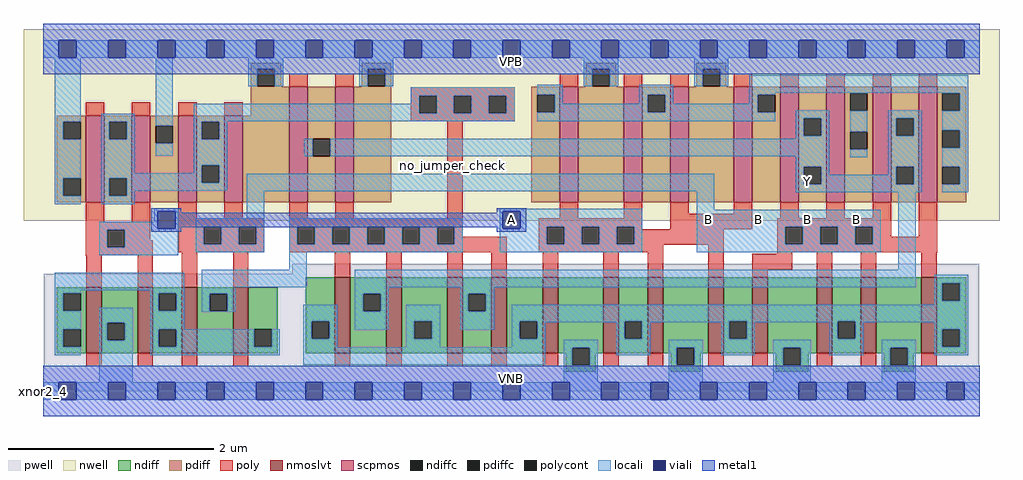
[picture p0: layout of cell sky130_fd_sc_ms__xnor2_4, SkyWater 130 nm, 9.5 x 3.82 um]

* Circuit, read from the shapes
.subckt sky130_fd_sc_ms__xnor2_4 A B VGND VNB VPB VPWR Y
XM1 VGND A n1 VNB sky130_fd_pr__nfet_01v8_lvt w=0.64 l=0.15 m=2
XM2 n2 B n1 VNB sky130_fd_pr__nfet_01v8_lvt w=0.64 l=0.15 m=2
XM3 Y n2 n3 VNB sky130_fd_pr__nfet_01v8_lvt w=0.74 l=0.15 m=4
XM4 VGND A n3 VNB sky130_fd_pr__nfet_01v8_lvt w=0.74 l=0.15 m=4
XM5 VGND B n3 VNB sky130_fd_pr__nfet_01v8_lvt w=0.74 l=0.15 m=4
XM6 n2 A VPWR VPB sky130_fd_pr__pfet_01v8 w=0.84 l=0.18 m=2
XM7 n2 B VPWR VPB sky130_fd_pr__pfet_01v8 w=0.84 l=0.18 m=2
XM8 Y n2 VPWR VPB sky130_fd_pr__pfet_01v8 w=1.12 l=0.18 m=2
XM9 VPWR A n4 VPB sky130_fd_pr__pfet_01v8 w=1.12 l=0.18 m=4
XM10 Y B n4 VPB sky130_fd_pr__pfet_01v8 w=1.12 l=0.18 m=4
.ends

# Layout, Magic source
magic
tech sky130A
magscale 1 2
<< nwell >>
rect -38 332 1862 704
<< pwell >>
rect 485 228 1823 248
rect 1 49 1823 228
rect 0 0 1824 49
<< scpmos >>
rect 83 368 119 536
rect 173 368 209 536
rect 263 368 299 536
rect 353 368 389 536
rect 479 368 515 592
rect 569 368 605 592
rect 1006 368 1042 592
rect 1131 368 1167 592
rect 1221 368 1257 592
rect 1345 368 1381 592
rect 1435 368 1471 592
rect 1525 368 1561 592
rect 1615 368 1651 592
rect 1705 368 1741 592
<< nmoslvt >>
rect 84 74 114 202
rect 184 74 214 202
rect 270 74 300 202
rect 370 74 400 202
rect 568 74 598 222
rect 668 74 698 222
rect 787 74 817 222
rect 873 74 903 222
rect 973 74 1003 222
rect 1091 74 1121 222
rect 1177 74 1207 222
rect 1295 74 1325 222
rect 1381 74 1411 222
rect 1506 74 1536 222
rect 1592 74 1622 222
rect 1710 74 1740 222
<< ndiff >>
rect 27 190 84 202
rect 27 156 39 190
rect 73 156 84 190
rect 27 120 84 156
rect 27 86 39 120
rect 73 86 84 120
rect 27 74 84 86
rect 114 133 184 202
rect 114 99 125 133
rect 159 99 184 133
rect 114 74 184 99
rect 214 190 270 202
rect 214 156 225 190
rect 259 156 270 190
rect 214 120 270 156
rect 214 86 225 120
rect 259 86 270 120
rect 214 74 270 86
rect 300 189 370 202
rect 300 155 325 189
rect 359 155 370 189
rect 300 74 370 155
rect 400 120 457 202
rect 400 86 411 120
rect 445 86 457 120
rect 400 74 457 86
rect 511 136 568 222
rect 511 102 523 136
rect 557 102 568 136
rect 511 74 568 102
rect 598 189 668 222
rect 598 155 623 189
rect 657 155 668 189
rect 598 74 668 155
rect 698 136 787 222
rect 698 102 723 136
rect 757 102 787 136
rect 698 74 787 102
rect 817 189 873 222
rect 817 155 828 189
rect 862 155 873 189
rect 817 74 873 155
rect 903 136 973 222
rect 903 102 928 136
rect 962 102 973 136
rect 903 74 973 102
rect 1003 84 1091 222
rect 1003 74 1030 84
rect 1018 50 1030 74
rect 1064 74 1091 84
rect 1121 136 1177 222
rect 1121 102 1132 136
rect 1166 102 1177 136
rect 1121 74 1177 102
rect 1207 84 1295 222
rect 1207 74 1234 84
rect 1064 50 1076 74
rect 1018 38 1076 50
rect 1222 50 1234 74
rect 1268 74 1295 84
rect 1325 136 1381 222
rect 1325 102 1336 136
rect 1370 102 1381 136
rect 1325 74 1381 102
rect 1411 84 1506 222
rect 1411 74 1441 84
rect 1268 50 1280 74
rect 1222 38 1280 50
rect 1426 50 1441 74
rect 1475 74 1506 84
rect 1536 136 1592 222
rect 1536 102 1547 136
rect 1581 102 1592 136
rect 1536 74 1592 102
rect 1622 84 1710 222
rect 1622 74 1649 84
rect 1475 50 1491 74
rect 1426 38 1491 50
rect 1637 50 1649 74
rect 1683 74 1710 84
rect 1740 210 1797 222
rect 1740 176 1751 210
rect 1785 176 1797 210
rect 1740 120 1797 176
rect 1740 86 1751 120
rect 1785 86 1797 120
rect 1740 74 1797 86
rect 1683 50 1695 74
rect 1637 38 1695 50
<< pdiff >>
rect 404 627 464 639
rect 404 593 417 627
rect 451 593 464 627
rect 620 627 678 639
rect 404 592 464 593
rect 620 593 632 627
rect 666 593 678 627
rect 1057 627 1116 639
rect 620 592 678 593
rect 1057 593 1069 627
rect 1103 593 1116 627
rect 1272 627 1330 639
rect 1057 592 1116 593
rect 1272 593 1284 627
rect 1318 593 1330 627
rect 1272 592 1330 593
rect 404 536 479 592
rect 27 524 83 536
rect 27 490 39 524
rect 73 490 83 524
rect 27 414 83 490
rect 27 380 39 414
rect 73 380 83 414
rect 27 368 83 380
rect 119 524 173 536
rect 119 490 129 524
rect 163 490 173 524
rect 119 414 173 490
rect 119 380 129 414
rect 163 380 173 414
rect 119 368 173 380
rect 209 516 263 536
rect 209 482 219 516
rect 253 482 263 516
rect 209 368 263 482
rect 299 524 353 536
rect 299 490 309 524
rect 343 490 353 524
rect 299 440 353 490
rect 299 406 309 440
rect 343 406 353 440
rect 299 368 353 406
rect 389 368 479 536
rect 515 491 569 592
rect 515 457 525 491
rect 559 457 569 491
rect 515 368 569 457
rect 605 368 678 592
rect 950 577 1006 592
rect 950 543 962 577
rect 996 543 1006 577
rect 950 368 1006 543
rect 1042 368 1131 592
rect 1167 577 1221 592
rect 1167 543 1177 577
rect 1211 543 1221 577
rect 1167 368 1221 543
rect 1257 368 1345 592
rect 1381 577 1435 592
rect 1381 543 1391 577
rect 1425 543 1435 577
rect 1381 368 1435 543
rect 1471 531 1525 592
rect 1471 497 1481 531
rect 1515 497 1525 531
rect 1471 437 1525 497
rect 1471 403 1481 437
rect 1515 403 1525 437
rect 1471 368 1525 403
rect 1561 580 1615 592
rect 1561 546 1571 580
rect 1605 546 1615 580
rect 1561 505 1615 546
rect 1561 471 1571 505
rect 1605 471 1615 505
rect 1561 368 1615 471
rect 1651 531 1705 592
rect 1651 497 1661 531
rect 1695 497 1705 531
rect 1651 437 1705 497
rect 1651 403 1661 437
rect 1695 403 1705 437
rect 1651 368 1705 403
rect 1741 580 1797 592
rect 1741 546 1751 580
rect 1785 546 1797 580
rect 1741 508 1797 546
rect 1741 474 1751 508
rect 1785 474 1797 508
rect 1741 437 1797 474
rect 1741 403 1751 437
rect 1785 403 1797 437
rect 1741 368 1797 403
<< ndiffc >>
rect 39 156 73 190
rect 39 86 73 120
rect 125 99 159 133
rect 225 156 259 190
rect 225 86 259 120
rect 325 155 359 189
rect 411 86 445 120
rect 523 102 557 136
rect 623 155 657 189
rect 723 102 757 136
rect 828 155 862 189
rect 928 102 962 136
rect 1030 50 1064 84
rect 1132 102 1166 136
rect 1234 50 1268 84
rect 1336 102 1370 136
rect 1441 50 1475 84
rect 1547 102 1581 136
rect 1649 50 1683 84
rect 1751 176 1785 210
rect 1751 86 1785 120
<< pdiffc >>
rect 417 593 451 627
rect 632 593 666 627
rect 1069 593 1103 627
rect 1284 593 1318 627
rect 39 490 73 524
rect 39 380 73 414
rect 129 490 163 524
rect 129 380 163 414
rect 219 482 253 516
rect 309 490 343 524
rect 309 406 343 440
rect 525 457 559 491
rect 962 543 996 577
rect 1177 543 1211 577
rect 1391 543 1425 577
rect 1481 497 1515 531
rect 1481 403 1515 437
rect 1571 546 1605 580
rect 1571 471 1605 505
rect 1661 497 1695 531
rect 1661 403 1695 437
rect 1751 546 1785 580
rect 1751 474 1785 508
rect 1751 403 1785 437
<< poly >>
rect 479 592 515 618
rect 569 592 605 618
rect 1006 592 1042 618
rect 1131 592 1167 618
rect 1221 592 1257 618
rect 1345 592 1381 618
rect 1435 592 1471 618
rect 1525 592 1561 618
rect 1615 592 1651 618
rect 1705 592 1741 618
rect 83 536 119 562
rect 173 536 209 562
rect 263 536 299 562
rect 353 536 389 562
rect 716 575 918 591
rect 716 541 732 575
rect 766 541 800 575
rect 834 541 868 575
rect 902 541 918 575
rect 716 525 918 541
rect 83 330 119 368
rect 173 330 209 368
rect 83 314 209 330
rect 83 280 125 314
rect 159 294 209 314
rect 263 336 299 368
rect 353 336 389 368
rect 479 336 515 368
rect 569 336 605 368
rect 787 336 817 525
rect 1006 336 1042 368
rect 1131 336 1167 368
rect 263 320 431 336
rect 159 280 214 294
rect 83 264 214 280
rect 263 286 313 320
rect 347 286 381 320
rect 415 286 431 320
rect 263 270 431 286
rect 479 320 817 336
rect 479 286 495 320
rect 529 286 563 320
rect 597 286 631 320
rect 665 286 699 320
rect 733 286 767 320
rect 801 300 817 320
rect 965 320 1167 336
rect 801 286 903 300
rect 479 270 903 286
rect 965 286 981 320
rect 1015 286 1049 320
rect 1083 286 1117 320
rect 1151 315 1167 320
rect 1221 345 1257 368
rect 1345 345 1381 368
rect 1221 315 1381 345
rect 1435 336 1471 368
rect 1525 336 1561 368
rect 1615 336 1651 368
rect 1429 320 1651 336
rect 1151 286 1325 315
rect 965 285 1325 286
rect 965 270 1207 285
rect 84 202 114 264
rect 184 202 214 264
rect 270 202 300 270
rect 370 202 400 270
rect 568 222 598 270
rect 668 222 698 270
rect 787 222 817 270
rect 873 222 903 270
rect 973 222 1003 270
rect 1091 222 1121 270
rect 1177 222 1207 270
rect 1295 222 1325 285
rect 1429 286 1445 320
rect 1479 286 1513 320
rect 1547 286 1581 320
rect 1615 300 1651 320
rect 1705 300 1741 368
rect 1615 286 1741 300
rect 1429 270 1741 286
rect 1429 267 1459 270
rect 1381 237 1459 267
rect 1381 222 1411 237
rect 1506 222 1536 270
rect 1592 222 1622 270
rect 1710 222 1740 270
rect 84 48 114 74
rect 184 48 214 74
rect 270 48 300 74
rect 370 48 400 74
rect 568 48 598 74
rect 668 48 698 74
rect 787 48 817 74
rect 873 48 903 74
rect 973 48 1003 74
rect 1091 48 1121 74
rect 1177 48 1207 74
rect 1295 48 1325 74
rect 1381 48 1411 74
rect 1506 48 1536 74
rect 1592 48 1622 74
rect 1710 48 1740 74
<< polycont >>
rect 732 541 766 575
rect 800 541 834 575
rect 868 541 902 575
rect 125 280 159 314
rect 313 286 347 320
rect 381 286 415 320
rect 495 286 529 320
rect 563 286 597 320
rect 631 286 665 320
rect 699 286 733 320
rect 767 286 801 320
rect 981 286 1015 320
rect 1049 286 1083 320
rect 1117 286 1151 320
rect 1445 286 1479 320
rect 1513 286 1547 320
rect 1581 286 1615 320
<< locali >>
rect 0 649 31 683
rect 65 649 127 683
rect 161 649 223 683
rect 257 649 319 683
rect 353 649 415 683
rect 449 649 511 683
rect 545 649 607 683
rect 641 649 703 683
rect 737 649 799 683
rect 833 649 895 683
rect 929 649 991 683
rect 1025 649 1087 683
rect 1121 649 1183 683
rect 1217 649 1279 683
rect 1313 649 1375 683
rect 1409 649 1471 683
rect 1505 649 1567 683
rect 1601 649 1663 683
rect 1697 649 1759 683
rect 1793 649 1824 683
rect 23 524 73 649
rect 23 490 39 524
rect 23 414 73 490
rect 23 380 39 414
rect 23 364 73 380
rect 113 524 179 540
rect 113 490 129 524
rect 163 490 179 524
rect 113 424 179 490
rect 219 516 253 649
rect 400 627 468 649
rect 400 593 417 627
rect 451 593 468 627
rect 616 627 682 649
rect 616 593 632 627
rect 666 593 682 627
rect 1053 627 1120 649
rect 716 575 918 591
rect 716 559 732 575
rect 219 458 253 482
rect 293 541 732 559
rect 766 541 800 575
rect 834 541 868 575
rect 902 541 918 575
rect 293 525 918 541
rect 962 577 1012 596
rect 1053 593 1069 627
rect 1103 593 1120 627
rect 1268 627 1334 649
rect 996 559 1012 577
rect 1161 577 1227 596
rect 1268 593 1284 627
rect 1318 593 1334 627
rect 1161 559 1177 577
rect 996 543 1177 559
rect 1211 559 1227 577
rect 1375 581 1801 615
rect 1375 577 1425 581
rect 1375 559 1391 577
rect 1211 543 1391 559
rect 1571 580 1605 581
rect 962 525 1425 543
rect 1465 531 1531 547
rect 293 524 359 525
rect 293 490 309 524
rect 343 490 359 524
rect 1465 497 1481 531
rect 1515 497 1531 531
rect 1465 491 1531 497
rect 293 440 359 490
rect 509 457 525 491
rect 559 457 1531 491
rect 293 424 309 440
rect 113 414 309 424
rect 113 380 129 414
rect 163 406 309 414
rect 343 406 359 440
rect 1465 437 1531 457
rect 1751 580 1801 581
rect 1571 505 1605 546
rect 1571 455 1605 471
rect 1645 531 1711 547
rect 1645 497 1661 531
rect 1695 497 1711 531
rect 163 390 359 406
rect 163 380 179 390
rect 113 364 179 380
rect 397 389 1307 423
rect 217 350 263 356
rect 217 330 223 350
rect 109 316 223 330
rect 257 316 263 350
rect 397 336 431 389
rect 889 350 1167 355
rect 109 314 263 316
rect 109 280 125 314
rect 159 280 263 314
rect 109 264 263 280
rect 297 320 431 336
rect 297 286 313 320
rect 347 286 381 320
rect 415 286 431 320
rect 297 270 431 286
rect 479 320 817 336
rect 479 286 495 320
rect 529 286 563 320
rect 597 286 631 320
rect 665 286 699 320
rect 733 286 767 320
rect 801 286 817 320
rect 479 270 817 286
rect 889 316 895 350
rect 929 320 1167 350
rect 929 316 981 320
rect 889 286 981 316
rect 1015 286 1049 320
rect 1083 286 1117 320
rect 1151 286 1167 320
rect 889 270 1167 286
rect 1273 353 1307 389
rect 1465 403 1481 437
rect 1515 421 1531 437
rect 1645 437 1711 497
rect 1645 421 1661 437
rect 1515 403 1661 421
rect 1695 403 1711 437
rect 1465 387 1711 403
rect 1785 546 1801 580
rect 1751 508 1801 546
rect 1785 474 1801 508
rect 1751 437 1801 474
rect 1785 403 1801 437
rect 1751 387 1801 403
rect 1273 320 1631 353
rect 1273 286 1445 320
rect 1479 286 1513 320
rect 1547 286 1581 320
rect 1615 286 1631 320
rect 1273 270 1631 286
rect 479 236 513 270
rect 1665 236 1699 387
rect 23 196 275 230
rect 23 190 73 196
rect 23 156 39 190
rect 209 190 275 196
rect 23 120 73 156
rect 23 86 39 120
rect 23 70 73 86
rect 109 133 175 162
rect 109 99 125 133
rect 159 99 175 133
rect 109 17 175 99
rect 209 156 225 190
rect 259 156 275 190
rect 209 120 275 156
rect 309 202 513 236
rect 607 202 1699 236
rect 1735 210 1801 226
rect 309 189 375 202
rect 309 155 325 189
rect 359 155 375 189
rect 607 189 673 202
rect 309 154 375 155
rect 507 136 573 168
rect 209 86 225 120
rect 259 86 411 120
rect 445 86 461 120
rect 209 70 461 86
rect 507 102 523 136
rect 557 102 573 136
rect 607 155 623 189
rect 657 155 673 189
rect 812 189 878 202
rect 607 119 673 155
rect 707 136 773 168
rect 507 85 573 102
rect 707 102 723 136
rect 757 102 773 136
rect 812 155 828 189
rect 862 155 878 189
rect 1735 176 1751 210
rect 1785 176 1801 210
rect 1735 168 1801 176
rect 812 119 878 155
rect 912 136 1801 168
rect 707 85 773 102
rect 912 102 928 136
rect 962 134 1132 136
rect 962 102 978 134
rect 912 85 978 102
rect 1116 102 1132 134
rect 1166 134 1336 136
rect 1166 102 1182 134
rect 507 51 978 85
rect 1014 84 1080 100
rect 1014 50 1030 84
rect 1064 50 1080 84
rect 1116 70 1182 102
rect 1320 102 1336 134
rect 1370 134 1547 136
rect 1370 102 1386 134
rect 1218 84 1284 100
rect 1014 17 1080 50
rect 1218 50 1234 84
rect 1268 50 1284 84
rect 1320 70 1386 102
rect 1531 102 1547 134
rect 1581 134 1801 136
rect 1581 102 1597 134
rect 1422 84 1495 100
rect 1218 17 1284 50
rect 1422 50 1441 84
rect 1475 50 1495 84
rect 1531 70 1597 102
rect 1735 120 1801 134
rect 1633 84 1699 100
rect 1422 17 1495 50
rect 1633 50 1649 84
rect 1683 50 1699 84
rect 1735 86 1751 120
rect 1785 86 1801 120
rect 1735 70 1801 86
rect 1633 17 1699 50
rect 0 -17 31 17
rect 65 -17 127 17
rect 161 -17 223 17
rect 257 -17 319 17
rect 353 -17 415 17
rect 449 -17 511 17
rect 545 -17 607 17
rect 641 -17 703 17
rect 737 -17 799 17
rect 833 -17 895 17
rect 929 -17 991 17
rect 1025 -17 1087 17
rect 1121 -17 1183 17
rect 1217 -17 1279 17
rect 1313 -17 1375 17
rect 1409 -17 1471 17
rect 1505 -17 1567 17
rect 1601 -17 1663 17
rect 1697 -17 1759 17
rect 1793 -17 1824 17
<< viali >>
rect 31 649 65 683
rect 127 649 161 683
rect 223 649 257 683
rect 319 649 353 683
rect 415 649 449 683
rect 511 649 545 683
rect 607 649 641 683
rect 703 649 737 683
rect 799 649 833 683
rect 895 649 929 683
rect 991 649 1025 683
rect 1087 649 1121 683
rect 1183 649 1217 683
rect 1279 649 1313 683
rect 1375 649 1409 683
rect 1471 649 1505 683
rect 1567 649 1601 683
rect 1663 649 1697 683
rect 1759 649 1793 683
rect 223 316 257 350
rect 895 316 929 350
rect 31 -17 65 17
rect 127 -17 161 17
rect 223 -17 257 17
rect 319 -17 353 17
rect 415 -17 449 17
rect 511 -17 545 17
rect 607 -17 641 17
rect 703 -17 737 17
rect 799 -17 833 17
rect 895 -17 929 17
rect 991 -17 1025 17
rect 1087 -17 1121 17
rect 1183 -17 1217 17
rect 1279 -17 1313 17
rect 1375 -17 1409 17
rect 1471 -17 1505 17
rect 1567 -17 1601 17
rect 1663 -17 1697 17
rect 1759 -17 1793 17
<< metal1 >>
rect 0 683 1824 715
rect 0 649 31 683
rect 65 649 127 683
rect 161 649 223 683
rect 257 649 319 683
rect 353 649 415 683
rect 449 649 511 683
rect 545 649 607 683
rect 641 649 703 683
rect 737 649 799 683
rect 833 649 895 683
rect 929 649 991 683
rect 1025 649 1087 683
rect 1121 649 1183 683
rect 1217 649 1279 683
rect 1313 649 1375 683
rect 1409 649 1471 683
rect 1505 649 1567 683
rect 1601 649 1663 683
rect 1697 649 1759 683
rect 1793 649 1824 683
rect 0 617 1824 649
rect 211 350 269 356
rect 211 316 223 350
rect 257 347 269 350
rect 883 350 941 356
rect 883 347 895 350
rect 257 319 895 347
rect 257 316 269 319
rect 211 310 269 316
rect 883 316 895 319
rect 929 316 941 350
rect 883 310 941 316
rect 0 17 1824 49
rect 0 -17 31 17
rect 65 -17 127 17
rect 161 -17 223 17
rect 257 -17 319 17
rect 353 -17 415 17
rect 449 -17 511 17
rect 545 -17 607 17
rect 641 -17 703 17
rect 737 -17 799 17
rect 833 -17 895 17
rect 929 -17 991 17
rect 1025 -17 1087 17
rect 1121 -17 1183 17
rect 1217 -17 1279 17
rect 1313 -17 1375 17
rect 1409 -17 1471 17
rect 1505 -17 1567 17
rect 1601 -17 1663 17
rect 1697 -17 1759 17
rect 1793 -17 1824 17
rect 0 -49 1824 -17
<< labels >>
flabel pwell s 0 0 1824 49 0 FreeSans 200 0 0 0 VNB
port 4 nsew ground bidirectional
flabel nwell s 0 617 1824 666 0 FreeSans 200 0 0 0 VPB
port 5 nsew power bidirectional
rlabel comment s 0 0 0 0 4 xnor2_4
flabel comment s 797 440 797 440 0 FreeSans 200 0 0 0 no_jumper_check
flabel metal1 s 0 617 1824 666 0 FreeSans 340 0 0 0 VPWR
port 6 nsew power bidirectional
flabel metal1 s 0 0 1824 49 0 FreeSans 340 0 0 0 VGND
port 3 nsew ground bidirectional
flabel locali s 1471 390 1505 424 0 FreeSans 340 0 0 0 Y
port 7 nsew signal output
flabel locali s 1279 316 1313 350 0 FreeSans 340 0 0 0 B
port 2 nsew signal input
flabel locali s 1375 316 1409 350 0 FreeSans 340 0 0 0 B
port 2 nsew signal input
flabel locali s 1471 316 1505 350 0 FreeSans 340 0 0 0 B
port 2 nsew signal input
flabel locali s 1567 316 1601 350 0 FreeSans 340 0 0 0 B
port 2 nsew signal input
flabel locali s 895 316 929 350 0 FreeSans 340 0 0 0 A
port 1 nsew signal input
<< properties >>
string LEFsite unit
string LEFclass CORE
string FIXED_BBOX 0 0 1824 666
string GDS_FILE $PDKPATH/libs.ref/sky130_fd_sc_ms/gds/sky130_fd_sc_ms.gds
string LEFsymmetry X Y
string GDS_END 2384122
string GDS_START 2371644
<< end >>
